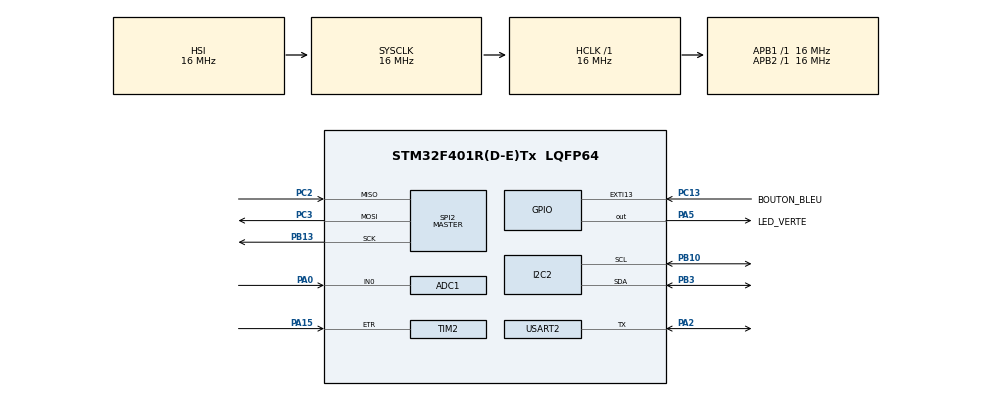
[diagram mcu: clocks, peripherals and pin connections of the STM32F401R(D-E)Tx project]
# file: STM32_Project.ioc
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ADC1.Channel-1\#ChannelRegularConversion=ADC_CHANNEL_0
ADC1.NbrOfConversionFlag=1
ADC1.Rank-1\#ChannelRegularConversion=1
ADC1.SamplingTime-1\#ChannelRegularConversion=ADC_SAMPLETIME_3CYCLES
ADC1.master=1
Mcu.Family=STM32F4
Mcu.Name=STM32F401R(D-E)Tx
Mcu.Package=LQFP64
NVIC.EXTI15_10_IRQn=true\:0\:0\:false\:false\:true\:true\:true
NVIC.PriorityGroup=NVIC_PRIORITYGROUP_4
NVIC.TIM2_IRQn=true\:0\:0\:false\:false\:true\:true\:true
NVIC.TIM3_IRQn=true\:0\:0\:false\:false\:true\:true\:true
PA0-WKUP.Signal=ADCx_IN0
PA13.Mode=Serial_Wire
PA13.Signal=SYS_JTMS-SWDIO
PA14.Mode=Serial_Wire
PA14.Signal=SYS_JTCK-SWCLK
PA15.Signal=S_TIM2_CH1_ETR
PA2.Mode=Half_duplex(single_wire_mode)
PA2.Signal=USART2_TX
PA5.GPIO_Label=LED_VERTE
PA5.Signal=GPIO_Output
PB10.Mode=I2C
PB10.Signal=I2C2_SCL
PB13.Mode=Full_Duplex_Master
PB13.Signal=SPI2_SCK
PB3.Mode=I2C
PB3.Signal=I2C2_SDA
PC13-ANTI_TAMP.GPIO_Label=BOUTON_BLEU
PC13-ANTI_TAMP.GPIO_ModeDefaultEXTI=GPIO_MODE_IT_RISING
PC13-ANTI_TAMP.Signal=GPXTI13
PC14-OSC32_IN.Mode=LSE-External-Oscillator
PC14-OSC32_IN.Signal=RCC_OSC32_IN
PC15-OSC32_OUT.Mode=LSE-External-Oscillator
PC15-OSC32_OUT.Signal=RCC_OSC32_OUT
PC2.Mode=Full_Duplex_Master
PC2.Signal=SPI2_MISO
PC3.Mode=Full_Duplex_Master
PC3.Signal=SPI2_MOSI
PH0\ -\ OSC_IN.Mode=HSE-External-Oscillator
PH0\ -\ OSC_IN.Signal=RCC_OSC_IN
PH1\ -\ OSC_OUT.Mode=HSE-External-Oscillator
PH1\ -\ OSC_OUT.Signal=RCC_OSC_OUT
ProjectManager.HeapSize=0x200
ProjectManager.StackSize=0x400
ProjectManager.TargetToolchain=STM32CubeIDE
RCC.48MHZClocksFreq_Value=48000000
RCC.AHBFreq_Value=16000000
RCC.APB1Freq_Value=16000000
RCC.APB1TimFreq_Value=16000000
RCC.APB2Freq_Value=16000000
RCC.APB2TimFreq_Value=16000000
RCC.CortexFreq_Value=16000000
RCC.HCLKFreq_Value=16000000
RCC.HSE_VALUE=8000000
RCC.HSI_VALUE=16000000
RCC.RCC_RTC_Clock_SourceVirtual=RCC_RTCCLKSOURCE_LSE
RCC.RCC_RTC_Clock_Source_FROM_HSE=RCC_RTCCLKSOURCE_HSE_DIV8
RCC.SYSCLKFreq_VALUE=16000000
RCC.VCOOutputFreq_Value=192000000
RTC.Alarm=RTC_ALARM_A
RTC.Date=19
RTC.Format=RTC_FORMAT_BIN
RTC.Hours=23
RTC.Minutes=58
RTC.Month=RTC_MONTH_NOVEMBER
RTC.Seconds=50
RTC.WeekDay=RTC_WEEKDAY_FRIDAY
RTC.Year=20
SH.ADCx_IN0.0=ADC1_IN0,IN0
SH.S_TIM2_CH1_ETR.0=TIM2_ETR,ClockSourceETR_Mode2
SPI2.Direction=SPI_DIRECTION_2LINES
SPI2.Mode=SPI_MODE_MASTER
SPI2.VirtualType=VM_MASTER
TIM2.AutoReloadPreload=TIM_AUTORELOAD_PRELOAD_DISABLE
TIM2.ClockFilter=15
TIM2.Period=4
TIM2.Prescaler=16000-1
TIM3.AutoReloadPreload=TIM_AUTORELOAD_PRELOAD_ENABLE
TIM3.Period=16000-1
TIM3.Prescaler=16000-1
USART2.VirtualMode=VM_ASYNC
VP_IWDG_VS_IWDG.Mode=IWDG_Activate
VP_RTC_VS_RTC_Activate.Mode=RTC_Enabled
VP_RTC_VS_RTC_Alarm_A_Intern.Mode=Alarm A
VP_RTC_VS_RTC_Calendar.Mode=RTC_Calendar
VP_TIM3_VS_ClockSourceINT.Mode=Internal
board=custom

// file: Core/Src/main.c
/* USER CODE BEGIN Header */
/**
  ******************************************************************************
  * @file           : main.c
  * @brief          : Main program body
  ******************************************************************************
  * @attention
  *
  * <h2><center>&copy; Copyright (c) 2020 STMicroelectronics.
  * All rights reserved.</center></h2>
  *
  * This software component is licensed by ST under BSD 3-Clause license,
  * the "License"; You may not use this file except in compliance with the
  * License. You may obtain a copy of the License at:
  *                        opensource.org/licenses/BSD-3-Clause
  *
  ******************************************************************************
  */
/* USER CODE END Header */
#include "main.h"

/* USER CODE BEGIN Includes */
#include <stdio.h>
#include <time.h>
#include "led.h"
#include "periph/uart.h"
#include "periph/rtc.h"
/* USER CODE END Includes */

ADC_HandleTypeDef hadc1;

I2C_HandleTypeDef hi2c2;

IWDG_HandleTypeDef hiwdg;

RTC_HandleTypeDef hrtc;

SPI_HandleTypeDef hspi2;

TIM_HandleTypeDef htim2;
TIM_HandleTypeDef htim3;

UART_HandleTypeDef huart2;

void SystemClock_Config(void);
static void MX_GPIO_Init(void);
static void MX_RTC_Init(void);
static void MX_TIM3_Init(void);
static void MX_USART2_UART_Init(void);
static void MX_TIM2_Init(void);
static void MX_ADC1_Init(void);
static void MX_I2C2_Init(void);
static void MX_IWDG_Init(void);
static void MX_SPI2_Init(void);

int main(void)
{

  /* MCU Configuration--------------------------------------------------------*/

  /* Reset of all peripherals, Initializes the Flash interface and the Systick. */
  HAL_Init();

  /* Configure the system clock */
  SystemClock_Config();

  /* Initialize all configured peripherals */
  MX_GPIO_Init();
  MX_RTC_Init();
  MX_TIM3_Init();
  MX_USART2_UART_Init();
  MX_TIM2_Init();
  MX_ADC1_Init();
  MX_I2C2_Init();
  MX_IWDG_Init();
  MX_SPI2_Init();
  /* USER CODE BEGIN 2 */
  if (HAL_TIM_Base_Start_IT(&htim2) != HAL_OK) {
          Error_Handler();
  }
  print_help(&huart2);
  /* USER CODE END 2 */

  /* Infinite loop */
  /* USER CODE BEGIN WHILE */
  while (1)
  {

	  /*
	  uint8_t buffer[1];
	  HAL_UART_Receive(&huart2, buffer, sizeof(buffer), HAL_MAX_DELAY);
	  HAL_UART_Transmit(&huart2, buffer, sizeof(buffer), HAL_MAX_DELAY);
	  Clignotement();
	  */

	  /*
	  HAL_Delay(500);
	  //HAL_GPIO_TogglePin(GPIOA, GPIO_PIN_5);
	  *((unsigned int *)0x40020014) = 0x00000020;
	  HAL_Delay(500);
	  //HAL_GPIO_TogglePin(GPIOA, GPIO_PIN_5);
	  *((unsigned int *)0x40020014) = 0x00000000;
	  */

    /* USER CODE END WHILE */

  }
}

void SystemClock_Config(void)
{
  RCC_OscInitTypeDef RCC_OscInitStruct = {0};
  RCC_ClkInitTypeDef RCC_ClkInitStruct = {0};
  RCC_PeriphCLKInitTypeDef PeriphClkInitStruct = {0};

  /** Configure the main internal regulator output voltage
  */
  __HAL_RCC_PWR_CLK_ENABLE();
  __HAL_PWR_VOLTAGESCALING_CONFIG(PWR_REGULATOR_VOLTAGE_SCALE2);
  /** Initializes the RCC Oscillators according to the specified parameters
  * in the RCC_OscInitTypeDef structure.
  */
  RCC_OscInitStruct.OscillatorType = RCC_OSCILLATORTYPE_HSI|RCC_OSCILLATORTYPE_LSI
                              |RCC_OSCILLATORTYPE_LSE;
  RCC_OscInitStruct.LSEState = RCC_LSE_ON;
  RCC_OscInitStruct.HSIState = RCC_HSI_ON;
  RCC_OscInitStruct.HSICalibrationValue = RCC_HSICALIBRATION_DEFAULT;
  RCC_OscInitStruct.LSIState = RCC_LSI_ON;
  RCC_OscInitStruct.PLL.PLLState = RCC_PLL_NONE;
  if (HAL_RCC_OscConfig(&RCC_OscInitStruct) != HAL_OK)
  {
    Error_Handler();
  }
  /** Initializes the CPU, AHB and APB buses clocks
  */
  RCC_ClkInitStruct.ClockType = RCC_CLOCKTYPE_HCLK|RCC_CLOCKTYPE_SYSCLK
                              |RCC_CLOCKTYPE_PCLK1|RCC_CLOCKTYPE_PCLK2;
  RCC_ClkInitStruct.SYSCLKSource = RCC_SYSCLKSOURCE_HSI;
  RCC_ClkInitStruct.AHBCLKDivider = RCC_SYSCLK_DIV1;
  RCC_ClkInitStruct.APB1CLKDivider = RCC_HCLK_DIV1;
  RCC_ClkInitStruct.APB2CLKDivider = RCC_HCLK_DIV1;

  if (HAL_RCC_ClockConfig(&RCC_ClkInitStruct, FLASH_LATENCY_0) != HAL_OK)
  {
    Error_Handler();
  }
  PeriphClkInitStruct.PeriphClockSelection = RCC_PERIPHCLK_RTC;
  PeriphClkInitStruct.RTCClockSelection = RCC_RTCCLKSOURCE_LSE;
  if (HAL_RCCEx_PeriphCLKConfig(&PeriphClkInitStruct) != HAL_OK)
  {
    Error_Handler();
  }
}

static void MX_ADC1_Init(void)
{

  ADC_ChannelConfTypeDef sConfig = {0};

  /** Configure the global features of the ADC (Clock, Resolution, Data Alignment and number of conversion)
  */
  hadc1.Instance = ADC1;
  hadc1.Init.ClockPrescaler = ADC_CLOCK_SYNC_PCLK_DIV2;
  hadc1.Init.Resolution = ADC_RESOLUTION_12B;
  hadc1.Init.ScanConvMode = DISABLE;
  hadc1.Init.ContinuousConvMode = DISABLE;
  hadc1.Init.DiscontinuousConvMode = DISABLE;
  hadc1.Init.ExternalTrigConvEdge = ADC_EXTERNALTRIGCONVEDGE_NONE;
  hadc1.Init.ExternalTrigConv = ADC_SOFTWARE_START;
  hadc1.Init.DataAlign = ADC_DATAALIGN_RIGHT;
  hadc1.Init.NbrOfConversion = 1;
  hadc1.Init.DMAContinuousRequests = DISABLE;
  hadc1.Init.EOCSelection = ADC_EOC_SINGLE_CONV;
  if (HAL_ADC_Init(&hadc1) != HAL_OK)
  {
    Error_Handler();
  }
  /** Configure for the selected ADC regular channel its corresponding rank in the sequencer and its sample time.
  */
  sConfig.Channel = ADC_CHANNEL_0;
  sConfig.Rank = 1;
  sConfig.SamplingTime = ADC_SAMPLETIME_3CYCLES;
  if (HAL_ADC_ConfigChannel(&hadc1, &sConfig) != HAL_OK)
  {
    Error_Handler();
  }

}

static void MX_I2C2_Init(void)
{

  hi2c2.Instance = I2C2;
  hi2c2.Init.ClockSpeed = 100000;
  hi2c2.Init.DutyCycle = I2C_DUTYCYCLE_2;
  hi2c2.Init.OwnAddress1 = 0;
  hi2c2.Init.AddressingMode = I2C_ADDRESSINGMODE_7BIT;
  hi2c2.Init.DualAddressMode = I2C_DUALADDRESS_DISABLE;
  hi2c2.Init.OwnAddress2 = 0;
  hi2c2.Init.GeneralCallMode = I2C_GENERALCALL_DISABLE;
  hi2c2.Init.NoStretchMode = I2C_NOSTRETCH_DISABLE;
  if (HAL_I2C_Init(&hi2c2) != HAL_OK)
  {
    Error_Handler();
  }

}

static void MX_IWDG_Init(void)
{

  hiwdg.Instance = IWDG;
  hiwdg.Init.Prescaler = IWDG_PRESCALER_4;
  hiwdg.Init.Reload = 4095;
  if (HAL_IWDG_Init(&hiwdg) != HAL_OK)
  {
    Error_Handler();
  }

}

static void MX_RTC_Init(void)
{

  RTC_TimeTypeDef sTime = {0};
  RTC_DateTypeDef sDate = {0};
  RTC_AlarmTypeDef sAlarm = {0};

  /** Initialize RTC Only
  */
  hrtc.Instance = RTC;
  hrtc.Init.HourFormat = RTC_HOURFORMAT_24;
  hrtc.Init.AsynchPrediv = 127;
  hrtc.Init.SynchPrediv = 255;
  hrtc.Init.OutPut = RTC_OUTPUT_DISABLE;
  hrtc.Init.OutPutPolarity = RTC_OUTPUT_POLARITY_HIGH;
  hrtc.Init.OutPutType = RTC_OUTPUT_TYPE_OPENDRAIN;
  if (HAL_RTC_Init(&hrtc) != HAL_OK)
  {
    Error_Handler();
  }

  /* USER CODE BEGIN Check_RTC_BKUP */
  if(HAL_RTCEx_BKUPRead(&hrtc, RTC_BKP_DR1) != 0x32F2){
  /* USER CODE END Check_RTC_BKUP */

  /** Initialize RTC and set the Time and Date
  */
  sTime.Hours = 23;
  sTime.Minutes = 58;
  sTime.Seconds = 50;
  sTime.DayLightSaving = RTC_DAYLIGHTSAVING_NONE;
  sTime.StoreOperation = RTC_STOREOPERATION_RESET;
  if (HAL_RTC_SetTime(&hrtc, &sTime, RTC_FORMAT_BIN) != HAL_OK)
  {
    Error_Handler();
  }
  sDate.WeekDay = RTC_WEEKDAY_FRIDAY;
  sDate.Month = RTC_MONTH_NOVEMBER;
  sDate.Date = 19;
  sDate.Year = 20;

  if (HAL_RTC_SetDate(&hrtc, &sDate, RTC_FORMAT_BIN) != HAL_OK)
  {
    Error_Handler();
  }
  /** Enable the Alarm A
  */
  sAlarm.AlarmTime.Hours = 0;
  sAlarm.AlarmTime.Minutes = 0;
  sAlarm.AlarmTime.Seconds = 0;
  sAlarm.AlarmTime.SubSeconds = 0;
  sAlarm.AlarmTime.DayLightSaving = RTC_DAYLIGHTSAVING_NONE;
  sAlarm.AlarmTime.StoreOperation = RTC_STOREOPERATION_RESET;
  sAlarm.AlarmMask = RTC_ALARMMASK_NONE;
  sAlarm.AlarmSubSecondMask = RTC_ALARMSUBSECONDMASK_ALL;
  sAlarm.AlarmDateWeekDaySel = RTC_ALARMDATEWEEKDAYSEL_DATE;
  sAlarm.AlarmDateWeekDay = 1;
  sAlarm.Alarm = RTC_ALARM_A;
  if (HAL_RTC_SetAlarm(&hrtc, &sAlarm, RTC_FORMAT_BIN) != HAL_OK)
  {
    Error_Handler();
  }
  /* USER CODE BEGIN RTC_Init 2 */
  }
  HAL_RTCEx_BKUPWrite(&hrtc, RTC_BKP_DR1, 0x32F2); //Backup register to remember time set

  /* USER CODE END RTC_Init 2 */

}

static void MX_SPI2_Init(void)
{

  /* SPI2 parameter configuration*/
  hspi2.Instance = SPI2;
  hspi2.Init.Mode = SPI_MODE_MASTER;
  hspi2.Init.Direction = SPI_DIRECTION_2LINES;
  hspi2.Init.DataSize = SPI_DATASIZE_8BIT;
  hspi2.Init.CLKPolarity = SPI_POLARITY_LOW;
  hspi2.Init.CLKPhase = SPI_PHASE_1EDGE;
  hspi2.Init.NSS = SPI_NSS_SOFT;
  hspi2.Init.BaudRatePrescaler = SPI_BAUDRATEPRESCALER_2;
  hspi2.Init.FirstBit = SPI_FIRSTBIT_MSB;
  hspi2.Init.TIMode = SPI_TIMODE_DISABLE;
  hspi2.Init.CRCCalculation = SPI_CRCCALCULATION_DISABLE;
  hspi2.Init.CRCPolynomial = 10;
  if (HAL_SPI_Init(&hspi2) != HAL_OK)
  {
    Error_Handler();
  }

}

static void MX_TIM2_Init(void)
{

  TIM_ClockConfigTypeDef sClockSourceConfig = {0};
  TIM_MasterConfigTypeDef sMasterConfig = {0};

  htim2.Instance = TIM2;
  htim2.Init.Prescaler = 16000-1;
  htim2.Init.CounterMode = TIM_COUNTERMODE_UP;
  htim2.Init.Period = 4;
  htim2.Init.ClockDivision = TIM_CLOCKDIVISION_DIV1;
  htim2.Init.AutoReloadPreload = TIM_AUTORELOAD_PRELOAD_DISABLE;
  if (HAL_TIM_Base_Init(&htim2) != HAL_OK)
  {
    Error_Handler();
  }
  sClockSourceConfig.ClockSource = TIM_CLOCKSOURCE_ETRMODE2;
  sClockSourceConfig.ClockPolarity = TIM_CLOCKPOLARITY_NONINVERTED;
  sClockSourceConfig.ClockPrescaler = TIM_CLOCKPRESCALER_DIV1;
  sClockSourceConfig.ClockFilter = 15;
  if (HAL_TIM_ConfigClockSource(&htim2, &sClockSourceConfig) != HAL_OK)
  {
    Error_Handler();
  }
  sMasterConfig.MasterOutputTrigger = TIM_TRGO_RESET;
  sMasterConfig.MasterSlaveMode = TIM_MASTERSLAVEMODE_DISABLE;
  if (HAL_TIMEx_MasterConfigSynchronization(&htim2, &sMasterConfig) != HAL_OK)
  {
    Error_Handler();
  }

}

static void MX_TIM3_Init(void)
{

  TIM_ClockConfigTypeDef sClockSourceConfig = {0};
  TIM_MasterConfigTypeDef sMasterConfig = {0};

  htim3.Instance = TIM3;
  htim3.Init.Prescaler = 16000-1;
  htim3.Init.CounterMode = TIM_COUNTERMODE_UP;
  htim3.Init.Period = 16000-1;
  htim3.Init.ClockDivision = TIM_CLOCKDIVISION_DIV1;
  htim3.Init.AutoReloadPreload = TIM_AUTORELOAD_PRELOAD_ENABLE;
  if (HAL_TIM_Base_Init(&htim3) != HAL_OK)
  {
    Error_Handler();
  }
  sClockSourceConfig.ClockSource = TIM_CLOCKSOURCE_INTERNAL;
  if (HAL_TIM_ConfigClockSource(&htim3, &sClockSourceConfig) != HAL_OK)
  {
    Error_Handler();
  }
  sMasterConfig.MasterOutputTrigger = TIM_TRGO_RESET;
  sMasterConfig.MasterSlaveMode = TIM_MASTERSLAVEMODE_DISABLE;
  if (HAL_TIMEx_MasterConfigSynchronization(&htim3, &sMasterConfig) != HAL_OK)
  {
    Error_Handler();
  }

}

static void MX_USART2_UART_Init(void)
{

  huart2.Instance = USART2;
  huart2.Init.BaudRate = 115200;
  huart2.Init.WordLength = UART_WORDLENGTH_8B;
  huart2.Init.StopBits = UART_STOPBITS_1;
  huart2.Init.Parity = UART_PARITY_NONE;
  huart2.Init.Mode = UART_MODE_TX_RX;
  huart2.Init.HwFlowCtl = UART_HWCONTROL_NONE;
  huart2.Init.OverSampling = UART_OVERSAMPLING_16;
  if (HAL_HalfDuplex_Init(&huart2) != HAL_OK)
  {
    Error_Handler();
  }

}

static void MX_GPIO_Init(void)
{
  GPIO_InitTypeDef GPIO_InitStruct = {0};

  /* GPIO Ports Clock Enable */
  __HAL_RCC_GPIOC_CLK_ENABLE();
  __HAL_RCC_GPIOH_CLK_ENABLE();
  __HAL_RCC_GPIOA_CLK_ENABLE();
  __HAL_RCC_GPIOB_CLK_ENABLE();

  /*Configure GPIO pin Output Level */
  HAL_GPIO_WritePin(LED_VERTE_GPIO_Port, LED_VERTE_Pin, GPIO_PIN_RESET);

  /*Configure GPIO pin : BOUTON_BLEU_Pin */
  GPIO_InitStruct.Pin = BOUTON_BLEU_Pin;
  GPIO_InitStruct.Mode = GPIO_MODE_IT_RISING;
  GPIO_InitStruct.Pull = GPIO_NOPULL;
  HAL_GPIO_Init(BOUTON_BLEU_GPIO_Port, &GPIO_InitStruct);

  /*Configure GPIO pin : LED_VERTE_Pin */
  GPIO_InitStruct.Pin = LED_VERTE_Pin;
  GPIO_InitStruct.Mode = GPIO_MODE_OUTPUT_PP;
  GPIO_InitStruct.Pull = GPIO_NOPULL;
  GPIO_InitStruct.Speed = GPIO_SPEED_FREQ_LOW;
  HAL_GPIO_Init(LED_VERTE_GPIO_Port, &GPIO_InitStruct);

  /* EXTI interrupt init*/
  HAL_NVIC_SetPriority(EXTI15_10_IRQn, 0, 0);
  HAL_NVIC_EnableIRQ(EXTI15_10_IRQn);

}

/* USER CODE BEGIN 4 */

/**
  * @brief  Cette fonction s'appelle sur interruption lorsqu'on appui sur le boutton bleu PB13.
  * @retval None
  */

void HAL_GPIO_EXTI_Callback(uint16_t GPIO_Pin){
	uint32_t compteur = TIM2->CNT;
	if(GPIO_Pin == GPIO_PIN_13) {
		uint8_t buffer[] = "CNT : 999 !\r\n";
		sprintf(buffer,"CNT : %d\r\n", compteur);
		size_t size = (uint8_t) sizeof(buffer) / sizeof(buffer[0]);
		Send_on_UART2(&huart2, buffer, size);
	} else {
		__NOP();
	}
}

/**
  * @brief  Cette fonction s'appelle sur interruption à l'aide du timer3.
  * @retval None
*/

void HAL_TIM_PeriodElapsedCallback(TIM_HandleTypeDef *htim){
	uint8_t END_MSG[35] = "Overflow Reached! Counter Reset!\n\r";
	if (htim == &htim2){
		date(&hrtc, &huart2);
		HAL_GPIO_TogglePin(GPIOA, GPIO_PIN_5);
		HAL_UART_Transmit(&huart2, END_MSG, sizeof(END_MSG), 100);
	}

}
/* USER CODE END 4 */

void Error_Handler(void)
{
  __disable_irq();
  while (1)
  {
  }
}

/************************ (C) COPYRIGHT STMicroelectronics *****END OF FILE****/
